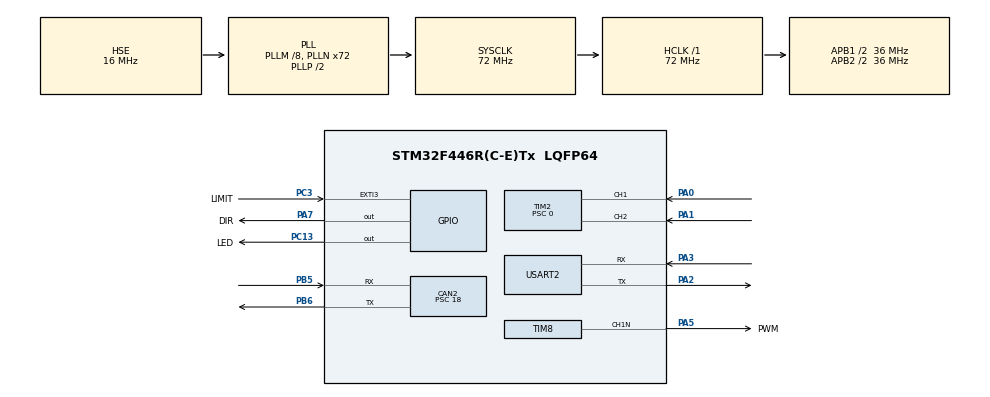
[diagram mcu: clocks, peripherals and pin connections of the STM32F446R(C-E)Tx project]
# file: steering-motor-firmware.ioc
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CAN2.BS1=CAN_BS1_2TQ
CAN2.BS2=CAN_BS2_1TQ
CAN2.CalculateBaudRate=500000
CAN2.CalculateTimeBit=2000
CAN2.CalculateTimeQuantum=500.0
CAN2.Mode=CAN_MODE_NORMAL
CAN2.Prescaler=18
Mcu.Family=STM32F4
Mcu.Name=STM32F446R(C-E)Tx
Mcu.Package=LQFP64
NVIC.CAN2_RX0_IRQn=true\:0\:0\:false\:false\:true\:true\:true\:true
NVIC.CAN2_RX1_IRQn=true\:0\:0\:false\:false\:true\:true\:true\:true
NVIC.CAN2_TX_IRQn=true\:0\:0\:false\:false\:true\:true\:true\:true
NVIC.EXTI3_IRQn=true\:0\:0\:false\:false\:true\:true\:true\:true
NVIC.PriorityGroup=NVIC_PRIORITYGROUP_4
NVIC.TIM8_BRK_TIM12_IRQn=true\:0\:0\:false\:false\:true\:true\:true\:true
NVIC.TIM8_UP_TIM13_IRQn=true\:0\:0\:false\:false\:true\:true\:true\:true
PA0-WKUP.Signal=S_TIM2_CH1_ETR
PA1.Signal=S_TIM2_CH2
PA13.Mode=Serial_Wire
PA13.Signal=SYS_JTMS-SWDIO
PA14.Mode=Serial_Wire
PA14.Signal=SYS_JTCK-SWCLK
PA2.Mode=Asynchronous
PA2.Signal=USART2_TX
PA3.Mode=Asynchronous
PA3.Signal=USART2_RX
PA5.GPIO_Label=PWM
PA5.Mode=PWM Generation1 CH1N
PA5.Signal=TIM8_CH1N
PA7.GPIO_Label=DIR
PA7.Signal=GPIO_Output
PB5.Mode=CAN_Activate
PB5.Signal=CAN2_RX
PB6.Mode=CAN_Activate
PB6.Signal=CAN2_TX
PC13.GPIO_Label=LED
PC13.Signal=GPIO_Output
PC3.GPIO_Label=LIMIT
PC3.GPIO_ModeDefaultEXTI=GPIO_MODE_IT_FALLING
PC3.GPIO_PuPd=GPIO_PULLUP
PC3.Signal=GPXTI3
PH0-OSC_IN.Mode=HSE-External-Oscillator
PH0-OSC_IN.Signal=RCC_OSC_IN
PH1-OSC_OUT.Mode=HSE-External-Oscillator
PH1-OSC_OUT.Signal=RCC_OSC_OUT
ProjectManager.HeapSize=0x200
ProjectManager.StackSize=0x400
ProjectManager.TargetToolchain=STM32CubeIDE
RCC.AHBFreq_Value=72000000
RCC.APB1CLKDivider=RCC_HCLK_DIV2
RCC.APB1Freq_Value=36000000
RCC.APB1TimFreq_Value=72000000
RCC.APB2CLKDivider=RCC_HCLK_DIV2
RCC.APB2Freq_Value=36000000
RCC.APB2TimFreq_Value=72000000
RCC.CortexFreq_Value=72000000
RCC.HCLKFreq_Value=72000000
RCC.HSE_VALUE=16000000
RCC.PLLM=8
RCC.PLLN=72
RCC.PLLSourceVirtual=RCC_PLLSOURCE_HSE
RCC.SYSCLKFreq_VALUE=72000000
RCC.SYSCLKSource=RCC_SYSCLKSOURCE_PLLCLK
RCC.USBFreq_Value=72000000
RCC.VCOOutputFreq_Value=144000000
SH.S_TIM2_CH1_ETR.0=TIM2_CH1,Encoder_Interface
SH.S_TIM2_CH2.0=TIM2_CH2,Encoder_Interface
TIM2.CounterMode=TIM_COUNTERMODE_UP
TIM2.EncoderMode=TIM_ENCODERMODE_TI12
TIM2.IC1Polarity=TIM_ICPOLARITY_FALLING
TIM2.IC2Polarity=TIM_ICPOLARITY_RISING
TIM2.Period=65535
TIM2.Prescaler=0
TIM8.Channel-PWM\ Generation1\ CH1N=TIM_CHANNEL_1
TIM8.CounterMode=TIM_COUNTERMODE_UP
TIM8.Period=4499
USART2.VirtualMode=VM_ASYNC
VP_TIM5_VS_ClockSourceINT.Mode=Internal
VP_TIM8_VS_ClockSourceINT.Mode=Internal
board=custom

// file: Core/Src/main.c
/* USER CODE BEGIN Header */
/**
  ******************************************************************************
  * @file           : main.c
  * @brief          : Main program body
  ******************************************************************************
  * @attention
  *
  * Copyright (c) 2025 STMicroelectronics.
  * All rights reserved.
  *
  * This software is licensed under terms that can be found in the LICENSE file
  * in the root directory of this software component.
  * If no LICENSE file comes with this software, it is provided AS-IS.
  *
  ******************************************************************************
  */
/* USER CODE END Header */
#include "main.h"

/* USER CODE BEGIN Includes */
#include "CAN_processing.h"
#include "encoder.h"
#include "motor.h"
#include "pid.h"
#include "TestList.h"
#include "Calibration.h"
/* USER CODE END Includes */

CAN_HandleTypeDef hcan2;

TIM_HandleTypeDef htim2;
TIM_HandleTypeDef htim5;
TIM_HandleTypeDef htim8;

UART_HandleTypeDef huart2;

/* USER CODE BEGIN PV */
CAN_RxHeaderTypeDef RxHeader;
uint8_t rxData[8];

/* USER CODE END PV */

void SystemClock_Config(void);
static void MX_GPIO_Init(void);
static void MX_TIM2_Init(void);
static void MX_TIM5_Init(void);
static void MX_TIM8_Init(void);
static void MX_CAN2_Init(void);
static void MX_USART2_UART_Init(void);
/* USER CODE BEGIN PFP */
#define PUTCHAR_PROTOTYPE int __io_putchar(int ch)
/* USER CODE END PFP */

/* USER CODE BEGIN 0 */

int datacheck = 0;

/* USER CODE END 0 */

int main(void)
{

  /* MCU Configuration--------------------------------------------------------*/

  /* Reset of all peripherals, Initializes the Flash interface and the Systick. */
  HAL_Init();

  /* Configure the system clock */
  SystemClock_Config();

  /* Initialize all configured peripherals */
  MX_GPIO_Init();
  MX_TIM2_Init();
  MX_TIM5_Init();
  MX_TIM8_Init();
  MX_CAN2_Init();
  MX_USART2_UART_Init();
  /* USER CODE BEGIN 2 */

  // Setup Encoder
  HAL_TIM_Encoder_Start(&htim2, TIM_CHANNEL_ALL);
  //Setup Motor PWM
  HAL_TIMEx_PWMN_Start(&htim8, TIM_CHANNEL_1);

  // Initialize motor state
  TIM2->CNT = 41744;
  set_motor_speed_raw(0);
  set_motor_direction(1);
  set_counts(41744);
//  set_motor_speed_raw(3500);
// int goal = 0;
// while (1){
//	 if (goal){
//	  setPIDGoalA(90);
//	 } else {
//		 setPIDGoalA(0);
//	 }
//	 HAL_Delay(2000);
//	 goal = !goal;
// }

//  CalibrateMotor(); // Calibrate the motor (see Calibration.c).

  /* CAN initialization below */
  CAN_FilterTypeDef canfilterconfig;

    canfilterconfig.FilterActivation = CAN_FILTER_ENABLE;
    canfilterconfig.FilterBank = 14;  // anything between 0 to SlaveStartFilterBank for can1. can 2 opposite.
    canfilterconfig.FilterFIFOAssignment = CAN_FILTER_FIFO0;
    canfilterconfig.FilterIdHigh = 0x0000;
    canfilterconfig.FilterIdLow = 0x0000; // comment out if we don't need filter in the end
    canfilterconfig.FilterMaskIdHigh = 0x0000;
    canfilterconfig.FilterMaskIdLow = 0x0; // all filters may be 0000. Figure out later.
    canfilterconfig.FilterMode = CAN_FILTERMODE_IDMASK;
    canfilterconfig.FilterScale = CAN_FILTERSCALE_32BIT;
    canfilterconfig.SlaveStartFilterBank = 14;  // 13 to 27 are assigned to slave CAN (CAN 2) OR 0 to 12 are assgned to CAN1

  HAL_CAN_ConfigFilter(&hcan2, &canfilterconfig);
  HAL_CAN_Start(&hcan2);
  HAL_CAN_ActivateNotification(&hcan2, CAN_IT_RX_FIFO0_MSG_PENDING);

  /* USER CODE END 2 */

  /* Infinite loop */
  /* USER CODE BEGIN WHILE */
  while (1){
	  // Process Message if available
	  if (datacheck){
		  	if (steering_state != CALIBRATION){
		  		CAN_Parse_MSG(&RxHeader, rxData);
		  	}
		    HAL_GPIO_TogglePin(LED_GPIO_Port, LED_Pin);
		    datacheck = 0;
	  }

#ifdef TESTING_MODE
//	  AssortedTests();
#endif
    /* USER CODE END WHILE */

  }
}

void SystemClock_Config(void)
{
  RCC_OscInitTypeDef RCC_OscInitStruct = {0};
  RCC_ClkInitTypeDef RCC_ClkInitStruct = {0};

  /** Configure the main internal regulator output voltage
  */
  __HAL_RCC_PWR_CLK_ENABLE();
  __HAL_PWR_VOLTAGESCALING_CONFIG(PWR_REGULATOR_VOLTAGE_SCALE3);

  /** Initializes the RCC Oscillators according to the specified parameters
  * in the RCC_OscInitTypeDef structure.
  */
  RCC_OscInitStruct.OscillatorType = RCC_OSCILLATORTYPE_HSE;
  RCC_OscInitStruct.HSEState = RCC_HSE_ON;
  RCC_OscInitStruct.PLL.PLLState = RCC_PLL_ON;
  RCC_OscInitStruct.PLL.PLLSource = RCC_PLLSOURCE_HSE;
  RCC_OscInitStruct.PLL.PLLM = 8;
  RCC_OscInitStruct.PLL.PLLN = 72;
  RCC_OscInitStruct.PLL.PLLP = RCC_PLLP_DIV2;
  RCC_OscInitStruct.PLL.PLLQ = 2;
  RCC_OscInitStruct.PLL.PLLR = 2;
  if (HAL_RCC_OscConfig(&RCC_OscInitStruct) != HAL_OK)
  {
    Error_Handler();
  }

  /** Initializes the CPU, AHB and APB buses clocks
  */
  RCC_ClkInitStruct.ClockType = RCC_CLOCKTYPE_HCLK|RCC_CLOCKTYPE_SYSCLK
                              |RCC_CLOCKTYPE_PCLK1|RCC_CLOCKTYPE_PCLK2;
  RCC_ClkInitStruct.SYSCLKSource = RCC_SYSCLKSOURCE_PLLCLK;
  RCC_ClkInitStruct.AHBCLKDivider = RCC_SYSCLK_DIV1;
  RCC_ClkInitStruct.APB1CLKDivider = RCC_HCLK_DIV2;
  RCC_ClkInitStruct.APB2CLKDivider = RCC_HCLK_DIV2;

  if (HAL_RCC_ClockConfig(&RCC_ClkInitStruct, FLASH_LATENCY_2) != HAL_OK)
  {
    Error_Handler();
  }
}

static void MX_CAN2_Init(void)
{

  hcan2.Instance = CAN2;
  hcan2.Init.Prescaler = 18;
  hcan2.Init.Mode = CAN_MODE_NORMAL;
  hcan2.Init.SyncJumpWidth = CAN_SJW_1TQ;
  hcan2.Init.TimeSeg1 = CAN_BS1_2TQ;
  hcan2.Init.TimeSeg2 = CAN_BS2_1TQ;
  hcan2.Init.TimeTriggeredMode = DISABLE;
  hcan2.Init.AutoBusOff = DISABLE;
  hcan2.Init.AutoWakeUp = DISABLE;
  hcan2.Init.AutoRetransmission = DISABLE;
  hcan2.Init.ReceiveFifoLocked = DISABLE;
  hcan2.Init.TransmitFifoPriority = DISABLE;
  if (HAL_CAN_Init(&hcan2) != HAL_OK)
  {
    Error_Handler();
  }

}

static void MX_TIM2_Init(void)
{

  TIM_Encoder_InitTypeDef sConfig = {0};
  TIM_MasterConfigTypeDef sMasterConfig = {0};

  htim2.Instance = TIM2;
  htim2.Init.Prescaler = 0;
  htim2.Init.CounterMode = TIM_COUNTERMODE_UP;
  htim2.Init.Period = 65535;
  htim2.Init.ClockDivision = TIM_CLOCKDIVISION_DIV1;
  htim2.Init.AutoReloadPreload = TIM_AUTORELOAD_PRELOAD_DISABLE;
  sConfig.EncoderMode = TIM_ENCODERMODE_TI12;
  sConfig.IC1Polarity = TIM_ICPOLARITY_FALLING;
  sConfig.IC1Selection = TIM_ICSELECTION_DIRECTTI;
  sConfig.IC1Prescaler = TIM_ICPSC_DIV1;
  sConfig.IC1Filter = 0;
  sConfig.IC2Polarity = TIM_ICPOLARITY_RISING;
  sConfig.IC2Selection = TIM_ICSELECTION_DIRECTTI;
  sConfig.IC2Prescaler = TIM_ICPSC_DIV1;
  sConfig.IC2Filter = 0;
  if (HAL_TIM_Encoder_Init(&htim2, &sConfig) != HAL_OK)
  {
    Error_Handler();
  }
  sMasterConfig.MasterOutputTrigger = TIM_TRGO_RESET;
  sMasterConfig.MasterSlaveMode = TIM_MASTERSLAVEMODE_DISABLE;
  if (HAL_TIMEx_MasterConfigSynchronization(&htim2, &sMasterConfig) != HAL_OK)
  {
    Error_Handler();
  }

}

static void MX_TIM5_Init(void)
{

  TIM_ClockConfigTypeDef sClockSourceConfig = {0};
  TIM_MasterConfigTypeDef sMasterConfig = {0};

  htim5.Instance = TIM5;
  htim5.Init.Prescaler = 0;
  htim5.Init.CounterMode = TIM_COUNTERMODE_UP;
  htim5.Init.Period = 4294967295;
  htim5.Init.ClockDivision = TIM_CLOCKDIVISION_DIV1;
  htim5.Init.AutoReloadPreload = TIM_AUTORELOAD_PRELOAD_DISABLE;
  if (HAL_TIM_Base_Init(&htim5) != HAL_OK)
  {
    Error_Handler();
  }
  sClockSourceConfig.ClockSource = TIM_CLOCKSOURCE_INTERNAL;
  if (HAL_TIM_ConfigClockSource(&htim5, &sClockSourceConfig) != HAL_OK)
  {
    Error_Handler();
  }
  sMasterConfig.MasterOutputTrigger = TIM_TRGO_RESET;
  sMasterConfig.MasterSlaveMode = TIM_MASTERSLAVEMODE_DISABLE;
  if (HAL_TIMEx_MasterConfigSynchronization(&htim5, &sMasterConfig) != HAL_OK)
  {
    Error_Handler();
  }

}

static void MX_TIM8_Init(void)
{

  TIM_ClockConfigTypeDef sClockSourceConfig = {0};
  TIM_MasterConfigTypeDef sMasterConfig = {0};
  TIM_OC_InitTypeDef sConfigOC = {0};
  TIM_BreakDeadTimeConfigTypeDef sBreakDeadTimeConfig = {0};

  htim8.Instance = TIM8;
  htim8.Init.Prescaler = 0;
  htim8.Init.CounterMode = TIM_COUNTERMODE_UP;
  htim8.Init.Period = 4499;
  htim8.Init.ClockDivision = TIM_CLOCKDIVISION_DIV1;
  htim8.Init.RepetitionCounter = 0;
  htim8.Init.AutoReloadPreload = TIM_AUTORELOAD_PRELOAD_DISABLE;
  if (HAL_TIM_Base_Init(&htim8) != HAL_OK)
  {
    Error_Handler();
  }
  sClockSourceConfig.ClockSource = TIM_CLOCKSOURCE_INTERNAL;
  if (HAL_TIM_ConfigClockSource(&htim8, &sClockSourceConfig) != HAL_OK)
  {
    Error_Handler();
  }
  if (HAL_TIM_PWM_Init(&htim8) != HAL_OK)
  {
    Error_Handler();
  }
  sMasterConfig.MasterOutputTrigger = TIM_TRGO_RESET;
  sMasterConfig.MasterSlaveMode = TIM_MASTERSLAVEMODE_DISABLE;
  if (HAL_TIMEx_MasterConfigSynchronization(&htim8, &sMasterConfig) != HAL_OK)
  {
    Error_Handler();
  }
  sConfigOC.OCMode = TIM_OCMODE_PWM1;
  sConfigOC.Pulse = 0;
  sConfigOC.OCPolarity = TIM_OCPOLARITY_HIGH;
  sConfigOC.OCNPolarity = TIM_OCNPOLARITY_HIGH;
  sConfigOC.OCFastMode = TIM_OCFAST_DISABLE;
  sConfigOC.OCIdleState = TIM_OCIDLESTATE_RESET;
  sConfigOC.OCNIdleState = TIM_OCNIDLESTATE_RESET;
  if (HAL_TIM_PWM_ConfigChannel(&htim8, &sConfigOC, TIM_CHANNEL_1) != HAL_OK)
  {
    Error_Handler();
  }
  sBreakDeadTimeConfig.OffStateRunMode = TIM_OSSR_DISABLE;
  sBreakDeadTimeConfig.OffStateIDLEMode = TIM_OSSI_DISABLE;
  sBreakDeadTimeConfig.LockLevel = TIM_LOCKLEVEL_OFF;
  sBreakDeadTimeConfig.DeadTime = 0;
  sBreakDeadTimeConfig.BreakState = TIM_BREAK_DISABLE;
  sBreakDeadTimeConfig.BreakPolarity = TIM_BREAKPOLARITY_HIGH;
  sBreakDeadTimeConfig.AutomaticOutput = TIM_AUTOMATICOUTPUT_DISABLE;
  if (HAL_TIMEx_ConfigBreakDeadTime(&htim8, &sBreakDeadTimeConfig) != HAL_OK)
  {
    Error_Handler();
  }
  HAL_TIM_MspPostInit(&htim8);

}

static void MX_USART2_UART_Init(void)
{

  huart2.Instance = USART2;
  huart2.Init.BaudRate = 115200;
  huart2.Init.WordLength = UART_WORDLENGTH_8B;
  huart2.Init.StopBits = UART_STOPBITS_1;
  huart2.Init.Parity = UART_PARITY_NONE;
  huart2.Init.Mode = UART_MODE_TX_RX;
  huart2.Init.HwFlowCtl = UART_HWCONTROL_NONE;
  huart2.Init.OverSampling = UART_OVERSAMPLING_16;
  if (HAL_UART_Init(&huart2) != HAL_OK)
  {
    Error_Handler();
  }

}

static void MX_GPIO_Init(void)
{
  GPIO_InitTypeDef GPIO_InitStruct = {0};

  /* GPIO Ports Clock Enable */
  __HAL_RCC_GPIOC_CLK_ENABLE();
  __HAL_RCC_GPIOH_CLK_ENABLE();
  __HAL_RCC_GPIOA_CLK_ENABLE();
  __HAL_RCC_GPIOB_CLK_ENABLE();

  /*Configure GPIO pin Output Level */
  HAL_GPIO_WritePin(LED_GPIO_Port, LED_Pin, GPIO_PIN_RESET);

  /*Configure GPIO pin Output Level */
  HAL_GPIO_WritePin(DIR_GPIO_Port, DIR_Pin, GPIO_PIN_RESET);

  /*Configure GPIO pin : LED_Pin */
  GPIO_InitStruct.Pin = LED_Pin;
  GPIO_InitStruct.Mode = GPIO_MODE_OUTPUT_PP;
  GPIO_InitStruct.Pull = GPIO_NOPULL;
  GPIO_InitStruct.Speed = GPIO_SPEED_FREQ_LOW;
  HAL_GPIO_Init(LED_GPIO_Port, &GPIO_InitStruct);

  /*Configure GPIO pin : LIMIT_Pin */
  GPIO_InitStruct.Pin = LIMIT_Pin;
  GPIO_InitStruct.Mode = GPIO_MODE_IT_FALLING;
  GPIO_InitStruct.Pull = GPIO_PULLUP;
  HAL_GPIO_Init(LIMIT_GPIO_Port, &GPIO_InitStruct);

  /*Configure GPIO pin : DIR_Pin */
  GPIO_InitStruct.Pin = DIR_Pin;
  GPIO_InitStruct.Mode = GPIO_MODE_OUTPUT_PP;
  GPIO_InitStruct.Pull = GPIO_NOPULL;
  GPIO_InitStruct.Speed = GPIO_SPEED_FREQ_LOW;
  HAL_GPIO_Init(DIR_GPIO_Port, &GPIO_InitStruct);

  /* EXTI interrupt init*/
  HAL_NVIC_SetPriority(EXTI3_IRQn, 0, 0);
  HAL_NVIC_EnableIRQ(EXTI3_IRQn);

}

/* USER CODE BEGIN 4 */

void HAL_CAN_RxFifo0MsgPendingCallback(CAN_HandleTypeDef *hcan) {
    // Keep reading until FIFO is empty, but only keep the last message
    while (HAL_CAN_GetRxFifoFillLevel(hcan, CAN_RX_FIFO0) > 0) {
        HAL_CAN_GetRxMessage(hcan, CAN_RX_FIFO0, &RxHeader, rxData);
    }
    datacheck = 1;
}

/**
  * @brief  Retargets the C library printf function to the USART.
  *   None
  * @retval None
  */
PUTCHAR_PROTOTYPE
{
  /* Place your implementation of fputc here */
  /* e.g. write a character to the USART1 and Loop until the end of transmission */
  HAL_UART_Transmit(&huart2, (uint8_t *)&ch, 1, 0xFFFF);

  return ch;
}

void HAL_GPIO_EXTI_Callback(uint16_t GPIO_PIN)
{
	if (GPIO_PIN == LIMIT_Pin){
		int switch_state = HAL_GPIO_ReadPin(LIMIT_GPIO_Port, LIMIT_Pin);
		if (!switch_state){
			set_debounce(1);
		}
	}
}

/* USER CODE END 4 */

void Error_Handler(void)
{
  __disable_irq();
  while (1)
  {
  }
}
